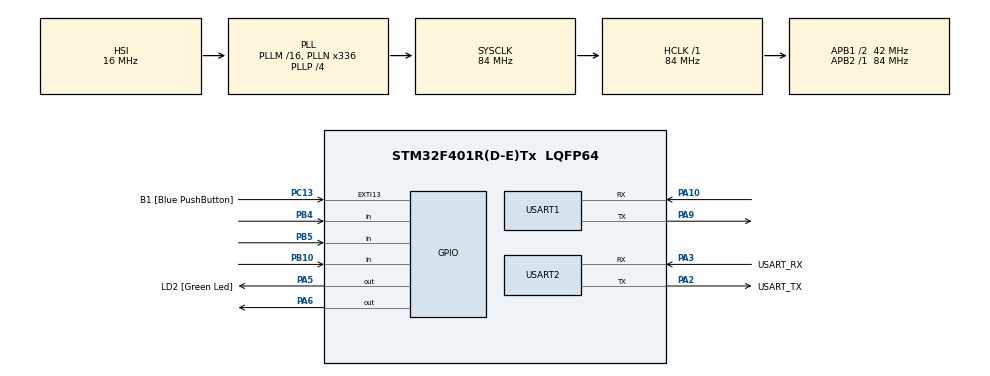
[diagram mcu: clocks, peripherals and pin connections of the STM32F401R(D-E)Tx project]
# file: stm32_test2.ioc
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Mcu.Family=STM32F4
Mcu.Name=STM32F401R(D-E)Tx
Mcu.Package=LQFP64
NVIC.PriorityGroup=NVIC_PRIORITYGROUP_4
NVIC.USART1_IRQn=true\:0\:0\:false\:false\:true\:true\:true\:true
NVIC.USART2_IRQn=true\:0\:0\:false\:false\:true\:true\:true\:true
PA10.Mode=Asynchronous
PA10.Signal=USART1_RX
PA13.GPIO_Label=TMS
PA13.Mode=Trace_Asynchronous_SW
PA13.Signal=SYS_JTMS-SWDIO
PA14.GPIO_Label=TCK
PA14.Mode=Trace_Asynchronous_SW
PA14.Signal=SYS_JTCK-SWCLK
PA2.GPIO_Label=USART_TX
PA2.GPIO_Mode=GPIO_MODE_AF_PP
PA2.GPIO_PuPd=GPIO_NOPULL
PA2.GPIO_Speed=GPIO_SPEED_FREQ_LOW
PA2.Mode=Asynchronous
PA2.Signal=USART2_TX
PA3.GPIO_Label=USART_RX
PA3.GPIO_Mode=GPIO_MODE_AF_PP
PA3.GPIO_PuPd=GPIO_NOPULL
PA3.GPIO_Speed=GPIO_SPEED_FREQ_LOW
PA3.Mode=Asynchronous
PA3.Signal=USART2_RX
PA5.GPIO_Label=LD2 [Green Led]
PA5.GPIO_Mode=GPIO_MODE_OUTPUT_PP
PA5.GPIO_PuPd=GPIO_NOPULL
PA5.GPIO_Speed=GPIO_SPEED_FREQ_LOW
PA5.Signal=GPIO_Output
PA6.PinState=GPIO_PIN_RESET
PA6.Signal=GPIO_Output
PA9.Mode=Asynchronous
PA9.Signal=USART1_TX
PB10.Signal=GPIO_Input
PB3.GPIO_Label=SWO
PB3.Mode=Trace_Asynchronous_SW
PB3.Signal=SYS_JTDO-SWO
PB4.Signal=GPIO_Input
PB5.Signal=GPIO_Input
PC13-ANTI_TAMP.GPIO_Label=B1 [Blue PushButton]
PC13-ANTI_TAMP.GPIO_ModeDefaultEXTI=GPIO_MODE_IT_FALLING
PC13-ANTI_TAMP.GPIO_PuPd=GPIO_NOPULL
PC13-ANTI_TAMP.Signal=GPXTI13
PC14-OSC32_IN.Mode=LSE-External-Oscillator
PC14-OSC32_IN.Signal=RCC_OSC32_IN
PC15-OSC32_OUT.Mode=LSE-External-Oscillator
PC15-OSC32_OUT.Signal=RCC_OSC32_OUT
PH0\ -\ OSC_IN.Mode=HSE-External-Clock-Source
PH0\ -\ OSC_IN.Signal=RCC_OSC_IN
PH1\ -\ OSC_OUT.Mode=HSE-External-Clock-Source
PH1\ -\ OSC_OUT.Signal=RCC_OSC_OUT
ProjectManager.HeapSize=0x200
ProjectManager.StackSize=0x400
ProjectManager.TargetToolchain=STM32CubeIDE
RCC.48MHZClocksFreq_Value=48000000
RCC.AHBFreq_Value=84000000
RCC.APB1CLKDivider=RCC_HCLK_DIV2
RCC.APB1Freq_Value=42000000
RCC.APB1TimFreq_Value=84000000
RCC.APB2Freq_Value=84000000
RCC.APB2TimFreq_Value=84000000
RCC.CortexFreq_Value=84000000
RCC.HCLKFreq_Value=84000000
RCC.HSE_VALUE=8000000
RCC.HSI_VALUE=16000000
RCC.PLLN=336
RCC.PLLP=RCC_PLLP_DIV4
RCC.PLLQ=7
RCC.SYSCLKFreq_VALUE=84000000
RCC.SYSCLKSource=RCC_SYSCLKSOURCE_PLLCLK
RCC.VCOOutputFreq_Value=336000000
USART1.VirtualMode=VM_ASYNC
USART2.VirtualMode=VM_ASYNC
board=NUCLEO-F401RE

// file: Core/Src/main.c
/* USER CODE BEGIN Header */
/**
  ******************************************************************************
  * @file           : main.c
  * @brief          : Main program body
  ******************************************************************************
  * @attention
  *
  * Copyright (c) 2025 STMicroelectronics.
  * All rights reserved.
  *
  * This software is licensed under terms that can be found in the LICENSE file
  * in the root directory of this software component.
  * If no LICENSE file comes with this software, it is provided AS-IS.
  *
  ******************************************************************************
  */
/* USER CODE END Header */
#include "main.h"

/* USER CODE BEGIN PD */
#define RX_BUFFER_SIZE 64
#define CONFIRM_PORT GPIOB
#define CONFIRM_PIN GPIO_PIN_4
#define LEFT_PORT GPIOB
#define LEFT_PIN GPIO_PIN_5
#define RIGHT_PORT GPIOB
#define RIGHT_PIN GPIO_PIN_10
#define LED_PORT GPIOA
#define LED_PIN GPIO_PIN_5

uint8_t rx_buffer[RX_BUFFER_SIZE];
volatile uint8_t rx_len = 0;
volatile uint8_t cmd_received = 0;
volatile uint8_t calibrate_state = 1;
/* USER CODE END PD */

UART_HandleTypeDef huart1;
UART_HandleTypeDef huart2;

void SystemClock_Config(void);
static void MX_GPIO_Init(void);
static void MX_USART1_UART_Init(void);
static void MX_USART2_UART_Init(void);

/* USER CODE BEGIN 0 */
uint16_t modbus_crc(uint8_t *data, uint16_t len) {
  uint16_t crc = 0xFFFF;
  for (uint16_t pos = 0; pos < len; pos++) {
    crc ^= (uint16_t)data[pos];
    for (int i = 8; i != 0; i--) {
      if ((crc & 0x0001) != 0) {
        crc >>= 1;
        crc ^= 0xA001;
      } else {
        crc >>= 1;
      }
    }
  }
  return crc;
}

void send_modbus_command(uint8_t *data, uint16_t len) {
  uint16_t crc = modbus_crc(data, len);
  uint8_t crc_low = crc & 0xFF;
  uint8_t crc_high = (crc >> 8) & 0xFF;

  uint8_t buffer[len + 2];
  memcpy(buffer, data, len);
  buffer[len] = crc_low;
  buffer[len + 1] = crc_high;
  HAL_UART_Transmit(&huart1, buffer, len + 2, 1000);

  HAL_Delay(1); // Minimum 3.5 character delay (≈0.3ms at 115200)
}

void test_speed_control_1(uint8_t MOTOR_ADDRESS) {
    // Step 1: Motor enable
    uint8_t step1[] = {MOTOR_ADDRESS, 0x06, 0x60, 0x40, 0x00, 0x06};
    send_modbus_command(step1, sizeof(step1));
    HAL_Delay(10);

    // Step 2
    uint8_t step2[] = {MOTOR_ADDRESS, 0x06, 0x60, 0x40, 0x00, 0x07};
    send_modbus_command(step2, sizeof(step2));
    HAL_Delay(10);

    // Step 3: Set to speed mode
    uint8_t step3[] = {MOTOR_ADDRESS, 0x06, 0x60, 0x40, 0x00, 0x0F};
    send_modbus_command(step3, sizeof(step3));
    HAL_Delay(10);

    // Step 4
    uint8_t step4[] = {MOTOR_ADDRESS, 0x06, 0x60, 0x60, 0x00, 0x03};
    send_modbus_command(step4, sizeof(step4));
    HAL_Delay(10);

    // Step 5: Set acceleration to 1rps/s
    uint8_t step5[] = {MOTOR_ADDRESS, 0x10, 0x60, 0x83, 0x00, 0x02, 0x04, 0x00, 0x00, 0x00, 0x0A};
    send_modbus_command(step5, sizeof(step5));
    HAL_Delay(10);

    // Step 6: Set deceleration to 1rps/s
    uint8_t step6[] = {MOTOR_ADDRESS, 0x10, 0x60, 0x84, 0x00, 0x02, 0x04, 0x00, 0x00, 0x00, 0x0A};
    send_modbus_command(step6, sizeof(step6));
    HAL_Delay(10);

    // Step 7: Set target speed to 200rpm (modified from 100rpm)
    uint8_t step7[] = {MOTOR_ADDRESS, 0x10, 0x60, 0xFF, 0x00, 0x02, 0x04, 0x00, 0x00, 0x00, 0xC8};
    send_modbus_command(step7, sizeof(step7));
    HAL_Delay(10);
}

void stop_motor(uint8_t MOTOR_ADDRESS) {
	uint8_t stopCommand[] = {MOTOR_ADDRESS, 0x06, 0x60, 0x40, 0x00, 0x06}; // Disable motor
	send_modbus_command(stopCommand, sizeof(stopCommand));
	HAL_Delay(10);
}

void test_absolute_position_control(uint8_t MOTOR_ADDRESS) {
    // Step 1: Motor enable (Shutdown command)
    uint8_t step1[] = {MOTOR_ADDRESS, 0x06, 0x60, 0x40, 0x00, 0x06}; // CRC: 0x161C
    send_modbus_command(step1, sizeof(step1));
    HAL_Delay(10);

    // Step 2: Switch on
    uint8_t step2[] = {MOTOR_ADDRESS, 0x06, 0x60, 0x40, 0x00, 0x07}; // CRC: 0xD7DC
    send_modbus_command(step2, sizeof(step2));
    HAL_Delay(10);

    // Step 3: Enable operation
    uint8_t step3[] = {MOTOR_ADDRESS, 0x06, 0x60, 0x40, 0x00, 0x0F}; // CRC: 0xD61A
    send_modbus_command(step3, sizeof(step3));
    HAL_Delay(10);

    // Step 4: Set to position mode
    uint8_t step4[] = {MOTOR_ADDRESS, 0x06, 0x60, 0x60, 0x00, 0x01}; // CRC: 0x5614
    send_modbus_command(step4, sizeof(step4));
    HAL_Delay(10);

    // Step 5: Set target speed to 900 rpm
    uint8_t step5[] = {MOTOR_ADDRESS, 0x10, 0x60, 0x81, 0x00, 0x02, 0x04, 0x00, 0x00, 0x07, 0xD0}; // CRC: 0x93EA
    send_modbus_command(step5, sizeof(step5));
    HAL_Delay(10);

    // Step 6: Set acceleration to 5 rps/s
    uint8_t step6[] = {MOTOR_ADDRESS, 0x10, 0x60, 0x83, 0x00, 0x02, 0x04, 0x00, 0x00, 0x00, 0x64}; // CRC: 0x93DF
    send_modbus_command(step6, sizeof(step6));
    HAL_Delay(10);

    // Step 7: Set deceleration to 5 rps/s
    uint8_t step7[] = {MOTOR_ADDRESS, 0x10, 0x60, 0x84, 0x00, 0x02, 0x04, 0x00, 0x00, 0x00, 0x64}; // CRC: 0xD239
    send_modbus_command(step7, sizeof(step7));
    HAL_Delay(10);

    // Step 8: Set running distance to 10000 pulses
    uint8_t step8[] = {MOTOR_ADDRESS, 0x10, 0x60, 0x7A, 0x00, 0x02, 0x04, 0x00, 0x00, 0x27, 0x10}; // CRC: 0xC6CA
    send_modbus_command(step8, sizeof(step8));
    HAL_Delay(10);

    // Step 9: Set absolute position mode
    uint8_t step9[] = {MOTOR_ADDRESS, 0x06, 0x60, 0x40, 0x00, 0x0F};
    send_modbus_command(step9, sizeof(step9));
    HAL_Delay(10);

    // Step 10: Motion triggering
    uint8_t step10[] = {MOTOR_ADDRESS, 0x06, 0x60, 0x40, 0x00, 0x1F};
    send_modbus_command(step10, sizeof(step10));
    HAL_Delay(10);
}

void set_pulses_per_revolution(uint8_t MOTOR_ADDRESS, uint32_t pulses_per_rev) {
    // Set electronic gear ratio: numerator = 131072, denominator = pulses_per_rev
    uint32_t numerator = 131072;  // Fixed numerator (encoder resolution)
    uint32_t denominator = pulses_per_rev;

    // Step 1: Write numerator to register 2034h
    uint8_t step1[] = {
        MOTOR_ADDRESS,
        0x10,               // Function code: Write multiple registers
        0x20, 0x34,         // Register address: 2034h
        0x00, 0x02,         // Number of registers to write (2 for 32-bit value)
        0x04,               // Byte count (4 bytes)
        (uint8_t)(numerator >> 24),
        (uint8_t)(numerator >> 16),
        (uint8_t)(numerator >> 8),
        (uint8_t)(numerator & 0xFF)
    };
    send_modbus_command(step1, sizeof(step1));
    HAL_Delay(10);

    // Step 2: Write denominator to register 2035h
    uint8_t step2[] = {
        MOTOR_ADDRESS,
        0x10,               // Function code: Write multiple registers
        0x20, 0x35,         // Register address: 2035h
        0x00, 0x02,         // Number of registers to write (2 for 32-bit value)
        0x04,               // Byte count (4 bytes)
        (uint8_t)(denominator >> 24),
        (uint8_t)(denominator >> 16),
        (uint8_t)(denominator >> 8),
        (uint8_t)(denominator & 0xFF)
    };
    send_modbus_command(step2, sizeof(step2));
    HAL_Delay(10);
}
int32_t degree_to_pulses(float degree) {
	int32_t pulses = (int32_t)(degree * 50 * 3.5 * 1000/360);
	return pulses;
}

void test_absolute_position_control_degree(uint8_t MOTOR_ADDRESS, float degree) {
    // Calculate the number of pulses based on the degree input
    int32_t pulses = degree_to_pulses(degree);

    // Step 1: Motor enable (Shutdown command)
    uint8_t step1[] = {MOTOR_ADDRESS, 0x06, 0x60, 0x40, 0x00, 0x06}; // CRC: 0x161C
    send_modbus_command(step1, sizeof(step1));
    HAL_Delay(5);

    // Step 2: Switch on
    uint8_t step2[] = {MOTOR_ADDRESS, 0x06, 0x60, 0x40, 0x00, 0x07}; // CRC: 0xD7DC
    send_modbus_command(step2, sizeof(step2));
    HAL_Delay(5);

    // Step 3: Enable operation
    uint8_t step3[] = {MOTOR_ADDRESS, 0x06, 0x60, 0x40, 0x00, 0x0F}; // CRC: 0xD61A
    send_modbus_command(step3, sizeof(step3));
    HAL_Delay(5);

    // Step 4: Set to position mode
    uint8_t step4[] = {MOTOR_ADDRESS, 0x06, 0x60, 0x60, 0x00, 0x01}; // CRC: 0x5614
    send_modbus_command(step4, sizeof(step4));
    HAL_Delay(5);

    // Step 5: Set target speed to 2000 rpm
//    uint8_t step5[] = {MOTOR_ADDRESS, 0x10, 0x60, 0x81, 0x00, 0x02, 0x04, 0x00, 0x00, 0x07, 0xD0};
//    send_modbus_command(step5, sizeof(step5));
//    HAL_Delay(5);
//
    // Step 5: Set target speed to 600 rpm
    uint8_t step5[] = {MOTOR_ADDRESS, 0x10, 0x60, 0x81, 0x00, 0x02, 0x04, 0x00, 0x00, 0x03, 0xE8};
    send_modbus_command(step5, sizeof(step5));
    HAL_Delay(5);

//    // Step 6: Set acceleration to 150 rps/s
//    uint8_t step6[] = {MOTOR_ADDRESS, 0x10, 0x60, 0x83, 0x00, 0x02, 0x04, 0x00, 0x00, 0x00, 0x96};
//    send_modbus_command(step6, sizeof(step6));
//    HAL_Delay(5);

    // Step 6: Set acceleration to 75 rps/s
    uint8_t step6[] = {MOTOR_ADDRESS, 0x10, 0x60, 0x83, 0x00, 0x02, 0x04, 0x00, 0x00, 0x00, 0x4B};
    send_modbus_command(step6, sizeof(step6));
    HAL_Delay(5);

    // Step 7: Set deceleration to 150 rps/s
    uint8_t step7[] = {MOTOR_ADDRESS, 0x10, 0x60, 0x84, 0x00, 0x02, 0x04, 0x00, 0x00, 0x00, 0x96}; // CRC: 0xD239
    send_modbus_command(step7, sizeof(step7));
    HAL_Delay(5);

    // Step 8: Set running distance to the calculated number of pulses
    uint8_t step8[] = {MOTOR_ADDRESS, 0x10, 0x60, 0x7A, 0x00, 0x02, 0x04,
                       (uint8_t)(pulses >> 24), (uint8_t)(pulses >> 16),
                       (uint8_t)(pulses >> 8), (uint8_t)(pulses & 0xFF)}; // CRC needs to be calculated
    send_modbus_command(step8, sizeof(step8));
    HAL_Delay(5);

    // Step 9: Set absolute position mode
    uint8_t step9[] = {MOTOR_ADDRESS, 0x06, 0x60, 0x40, 0x00, 0x0F};
    send_modbus_command(step9, sizeof(step9));
    HAL_Delay(5);

    // Step 10: Motion triggering
    uint8_t step10[] = {MOTOR_ADDRESS, 0x06, 0x60, 0x40, 0x00, 0x1F};
    send_modbus_command(step10, sizeof(step10));
    HAL_Delay(5);
}
void test_relative_position_control_degree(uint8_t MOTOR_ADDRESS, float degree) {
    // Calculate the number of pulses based on the degree input
	int32_t pulses = degree_to_pulses(degree);

    // Step 1: Motor enable (Shutdown command)
    uint8_t step1[] = {MOTOR_ADDRESS, 0x06, 0x60, 0x40, 0x00, 0x06}; // CRC: 0x161C
    send_modbus_command(step1, sizeof(step1));
    HAL_Delay(10);

    // Step 2: Switch on
    uint8_t step2[] = {MOTOR_ADDRESS, 0x06, 0x60, 0x40, 0x00, 0x07}; // CRC: 0xD7DC
    send_modbus_command(step2, sizeof(step2));
    HAL_Delay(10);

    // Step 3: Enable operation
    uint8_t step3[] = {MOTOR_ADDRESS, 0x06, 0x60, 0x40, 0x00, 0x0F}; // CRC: 0xD61A
    send_modbus_command(step3, sizeof(step3));
    HAL_Delay(10);

    // Step 4: Set to position mode
    uint8_t step4[] = {MOTOR_ADDRESS, 0x06, 0x60, 0x60, 0x00, 0x01}; // CRC: 0x5614
    send_modbus_command(step4, sizeof(step4));
    HAL_Delay(10);

    // Step 5: Set target speed to 2000 rpm
    uint8_t step5[] = {MOTOR_ADDRESS, 0x10, 0x60, 0x81, 0x00, 0x02, 0x04, 0x00, 0x00, 0x07, 0xD0};
    send_modbus_command(step5, sizeof(step5));
    HAL_Delay(10);

    // Step 6: Set acceleration to 150 rps/s
    uint8_t step6[] = {MOTOR_ADDRESS, 0x10, 0x60, 0x83, 0x00, 0x02, 0x04, 0x00, 0x00, 0x00, 0x96};
    send_modbus_command(step6, sizeof(step6));
    HAL_Delay(10);

    // Step 7: Set deceleration to 150 rps/s
    uint8_t step7[] = {MOTOR_ADDRESS, 0x10, 0x60, 0x84, 0x00, 0x02, 0x04, 0x00, 0x00, 0x00, 0x96};
    send_modbus_command(step7, sizeof(step7));
    HAL_Delay(10);

    // Step 8: Set running distance to the calculated number of pulses
    uint8_t step8[] = {MOTOR_ADDRESS, 0x10, 0x60, 0x7A, 0x00, 0x02, 0x04,
                      (uint8_t)((pulses >> 24) & 0xFF),
                      (uint8_t)((pulses >> 16) & 0xFF),
                      (uint8_t)((pulses >> 8) & 0xFF),
                      (uint8_t)(pulses & 0xFF)};
    send_modbus_command(step8, sizeof(step8));
    HAL_Delay(10);

    // Step 9: Enable operation (already enabled, but required in sequence)
    uint8_t step9[] = {MOTOR_ADDRESS, 0x06, 0x60, 0x40, 0x00, 0x0F}; // CRC: 0xD61A
    send_modbus_command(step9, sizeof(step9));
    HAL_Delay(10);

    // Step 10: Set to relative position mode (bit 6 = 1 for relative mode)
    uint8_t step10[] = {MOTOR_ADDRESS, 0x06, 0x60, 0x40, 0x00, 0x4F}; // CRC: 0xD7EA
    send_modbus_command(step10, sizeof(step10));
    HAL_Delay(10);

    // Step 11: Motion triggering
    uint8_t step11[] = {MOTOR_ADDRESS, 0x06, 0x60, 0x40, 0x00, 0x5F}; // CRC: 0xD626
    send_modbus_command(step11, sizeof(step11));
    HAL_Delay(10);
}

void parse_command(char* cmd) {
  char *trimmed_cmd = cmd;
  char *p = trimmed_cmd;
  int motor_num, angle, chars_read;

  while (*p) {
      if (sscanf(p, " M%d %d%n", &motor_num, &angle, &chars_read) == 2) {
          if (motor_num >= 1 && motor_num <= 3) {
              test_absolute_position_control_degree(motor_num, (float)angle);
          }
          p += chars_read;
      } else {
          p++;
      }
  }

}
void set_current_position_as_zero(uint8_t MOTOR_ADDRESS) {
    // Step 1: Make sure the motor is in a stopped state first
    // Per the manual, register 2101h requires "Stop setting"

    // First ensure the motor is enabled but not moving
    // Shutdown command
    uint8_t cmd1[] = {MOTOR_ADDRESS, 0x06, 0x60, 0x40, 0x00, 0x06};
    send_modbus_command(cmd1, sizeof(cmd1));
    HAL_Delay(20);

    // Switch on
    uint8_t cmd2[] = {MOTOR_ADDRESS, 0x06, 0x60, 0x40, 0x00, 0x07};
    send_modbus_command(cmd2, sizeof(cmd2));
    HAL_Delay(20);

    // Enable operation
    uint8_t cmd3[] = {MOTOR_ADDRESS, 0x06, 0x60, 0x40, 0x00, 0x0F};
    send_modbus_command(cmd3, sizeof(cmd3));
    HAL_Delay(20);

    // Set mode to position mode (to ensure proper operation)
    uint8_t cmd4[] = {MOTOR_ADDRESS, 0x06, 0x60, 0x60, 0x00, 0x01};
    send_modbus_command(cmd4, sizeof(cmd4));
    HAL_Delay(20);

    // Now clear the position to zero
    // Write value 1 to register 2101h to trigger the Clear Zero function
    uint8_t cmd5[] = {MOTOR_ADDRESS, 0x06, 0x21, 0x01, 0x00, 0x01};
    send_modbus_command(cmd5, sizeof(cmd5));
    HAL_Delay(50); // Longer delay to ensure the operation completes

    // Optional: Save parameters to EEPROM if needed
    // According to section 7, register 200Ah can be used to save parameters
    // uint8_t cmd6[] = {MOTOR_ADDRESS, 0x06, 0x20, 0x0A, 0x00, 0x02};
    // send_modbus_command(cmd6, sizeof(cmd6));
    // HAL_Delay(100); // Saving to EEPROM can take longer
}
typedef enum {
    BUTTON_RELEASED = 0,
    BUTTON_PRESSED = 1,
    BUTTON_DEBOUNCING = 2
} ButtonState;

typedef struct {
    GPIO_TypeDef* GPIOx;       /* GPIO Port */
    uint16_t GPIO_Pin;         /* GPIO Pin */
    ButtonState state;         /* Current button state */
    uint32_t debounce_time;    /* Time for debouncing in milliseconds */
    uint32_t last_tick;        /* Last time the button was checked */
    uint8_t pressed;           /* Flag to indicate a valid press was detected */
} Button_TypeDef;

void Button_Init(Button_TypeDef* button, GPIO_TypeDef* GPIOx, uint16_t GPIO_Pin, uint32_t debounce_time) {
    button->GPIOx = GPIOx;
    button->GPIO_Pin = GPIO_Pin;
    button->state = BUTTON_RELEASED;
    button->debounce_time = debounce_time;
    button->last_tick = 0;
    button->pressed = 0;
}

void Button_Update(Button_TypeDef* button) {
    uint32_t current_tick = HAL_GetTick();
    GPIO_PinState pin_state = HAL_GPIO_ReadPin(button->GPIOx, button->GPIO_Pin);

    switch (button->state) {
        case BUTTON_RELEASED:
            if (pin_state == GPIO_PIN_SET) {
                button->state = BUTTON_DEBOUNCING;
                button->last_tick = current_tick;
            }
            break;

        case BUTTON_DEBOUNCING:
            if (current_tick - button->last_tick >= button->debounce_time) {
                /* Read the pin again after debounce period */
                if (HAL_GPIO_ReadPin(button->GPIOx, button->GPIO_Pin) == GPIO_PIN_SET) {
                    button->state = BUTTON_PRESSED;
                    button->pressed = 1; /* Set flag for a new press event */
                } else {
                    button->state = BUTTON_RELEASED;
                }
            }
            break;

        case BUTTON_PRESSED:
            if (pin_state == GPIO_PIN_RESET) {
                button->state = BUTTON_RELEASED;
            }
            break;
    }
}
uint8_t Button_IsPressed(Button_TypeDef* button) {
    if (button->pressed) {
        button->pressed = 0;
        return 1;
    }
    return 0;
}

void run_calibration(
		uint8_t MOTOR_ADDRESS,
		Button_TypeDef* confirm_button,
		Button_TypeDef* left_button,
		Button_TypeDef* right_button
) {
	if (Button_IsPressed(confirm_button)) {
		HAL_GPIO_WritePin(LED_PORT, LED_PIN, GPIO_PIN_SET);
		set_current_position_as_zero(MOTOR_ADDRESS);
		calibrate_state += 1;
		if (calibrate_state == 4) {
			calibrate_state = 0;
		}
	}
	else if (Button_IsPressed(left_button)) {
		HAL_GPIO_WritePin(LED_PORT, LED_PIN, GPIO_PIN_SET);
		test_relative_position_control_degree(MOTOR_ADDRESS, 5);
	}
	else if (Button_IsPressed(right_button)) {
		HAL_GPIO_WritePin(LED_PORT, LED_PIN, GPIO_PIN_SET);
		test_relative_position_control_degree(MOTOR_ADDRESS, -5);
	}
	else {
		HAL_GPIO_WritePin(LED_PORT, LED_PIN, GPIO_PIN_RESET);
//		stop_motor(MOTOR_ADDRESS);
	}
}
/* USER CODE END 0 */

int main(void)
{

  /* MCU Configuration--------------------------------------------------------*/

  /* Reset of all peripherals, Initializes the Flash interface and the Systick. */
  HAL_Init();

  /* Configure the system clock */
  SystemClock_Config();

  /* Initialize all configured peripherals */
  MX_GPIO_Init();
  MX_USART1_UART_Init();
  MX_USART2_UART_Init();
  /* USER CODE BEGIN 2 */

//	set_pulses_per_revolution(0x01, 1000);
//	HAL_Delay(1000);
  HAL_UART_Receive_IT(&huart2, rx_buffer, 1);
  HAL_GPIO_WritePin(GPIOA, GPIO_PIN_5, GPIO_PIN_RESET);  // Turn off LED

  Button_TypeDef confirmButton;
  Button_Init(&confirmButton, CONFIRM_PORT, CONFIRM_PIN, 200);
  Button_TypeDef leftButton;
  Button_Init(&leftButton, LEFT_PORT, LEFT_PIN, 200);
  Button_TypeDef rightButton;
  Button_Init(&rightButton, RIGHT_PORT, RIGHT_PIN, 200);
  /* USER CODE END 2 */

  /* Infinite loop */
  /* USER CODE BEGIN WHILE */
  while (1)
  {
	  Button_Update(&confirmButton);
	  Button_Update(&leftButton);
	  Button_Update(&rightButton);

	  if (calibrate_state == 0) {
		  if (cmd_received) {
			parse_command((char*)rx_buffer);
			rx_len = 0;
			cmd_received = 0;
		  }
	  }
	  else if (calibrate_state == 1) {
		  run_calibration(0x01, &confirmButton, &leftButton, &rightButton);
	  }
	  else if (calibrate_state == 2) {
		  run_calibration(0x02, &confirmButton, &leftButton, &rightButton);
	  }
	  else if (calibrate_state == 3) {
		  run_calibration(0x03, &confirmButton, &leftButton, &rightButton);
	  }
//	test_speed_control_1(0x01);
//	HAL_Delay(10000);
//	stop_motor(0x01);
//	HAL_Delay(1000);
//	test_absolute_position_control(0x01);
//	HAL_Delay(10000);
//	stop_motor(0x01);
//	HAL_Delay(1000);

//	test_absolute_position_control_degree(0x01, 0.0f);
//	HAL_Delay(5000);
//	test_absolute_position_control_degree(0x01, 120.0f);
//	HAL_Delay(5000);
//	test_absolute_position_control_degree(0x01, 240.0f);
//	HAL_Delay(5000);
//	test_absolute_position_control_degree(0x01, 360.0f);
//	HAL_Delay(10000);

    /* USER CODE END WHILE */

  }
}

void SystemClock_Config(void)
{
  RCC_OscInitTypeDef RCC_OscInitStruct = {0};
  RCC_ClkInitTypeDef RCC_ClkInitStruct = {0};

  /** Configure the main internal regulator output voltage
  */
  __HAL_RCC_PWR_CLK_ENABLE();
  __HAL_PWR_VOLTAGESCALING_CONFIG(PWR_REGULATOR_VOLTAGE_SCALE2);

  /** Initializes the RCC Oscillators according to the specified parameters
  * in the RCC_OscInitTypeDef structure.
  */
  RCC_OscInitStruct.OscillatorType = RCC_OSCILLATORTYPE_HSI;
  RCC_OscInitStruct.HSIState = RCC_HSI_ON;
  RCC_OscInitStruct.HSICalibrationValue = RCC_HSICALIBRATION_DEFAULT;
  RCC_OscInitStruct.PLL.PLLState = RCC_PLL_ON;
  RCC_OscInitStruct.PLL.PLLSource = RCC_PLLSOURCE_HSI;
  RCC_OscInitStruct.PLL.PLLM = 16;
  RCC_OscInitStruct.PLL.PLLN = 336;
  RCC_OscInitStruct.PLL.PLLP = RCC_PLLP_DIV4;
  RCC_OscInitStruct.PLL.PLLQ = 7;
  if (HAL_RCC_OscConfig(&RCC_OscInitStruct) != HAL_OK)
  {
    Error_Handler();
  }

  /** Initializes the CPU, AHB and APB buses clocks
  */
  RCC_ClkInitStruct.ClockType = RCC_CLOCKTYPE_HCLK|RCC_CLOCKTYPE_SYSCLK
                              |RCC_CLOCKTYPE_PCLK1|RCC_CLOCKTYPE_PCLK2;
  RCC_ClkInitStruct.SYSCLKSource = RCC_SYSCLKSOURCE_PLLCLK;
  RCC_ClkInitStruct.AHBCLKDivider = RCC_SYSCLK_DIV1;
  RCC_ClkInitStruct.APB1CLKDivider = RCC_HCLK_DIV2;
  RCC_ClkInitStruct.APB2CLKDivider = RCC_HCLK_DIV1;

  if (HAL_RCC_ClockConfig(&RCC_ClkInitStruct, FLASH_LATENCY_2) != HAL_OK)
  {
    Error_Handler();
  }
}

static void MX_USART1_UART_Init(void)
{

  huart1.Instance = USART1;
  huart1.Init.BaudRate = 115200;
  huart1.Init.WordLength = UART_WORDLENGTH_8B;
  huart1.Init.StopBits = UART_STOPBITS_1;
  huart1.Init.Parity = UART_PARITY_NONE;
  huart1.Init.Mode = UART_MODE_TX_RX;
  huart1.Init.HwFlowCtl = UART_HWCONTROL_NONE;
  huart1.Init.OverSampling = UART_OVERSAMPLING_16;
  if (HAL_UART_Init(&huart1) != HAL_OK)
  {
    Error_Handler();
  }

}

static void MX_USART2_UART_Init(void)
{

  huart2.Instance = USART2;
  huart2.Init.BaudRate = 115200;
  huart2.Init.WordLength = UART_WORDLENGTH_8B;
  huart2.Init.StopBits = UART_STOPBITS_1;
  huart2.Init.Parity = UART_PARITY_NONE;
  huart2.Init.Mode = UART_MODE_TX_RX;
  huart2.Init.HwFlowCtl = UART_HWCONTROL_NONE;
  huart2.Init.OverSampling = UART_OVERSAMPLING_16;
  if (HAL_UART_Init(&huart2) != HAL_OK)
  {
    Error_Handler();
  }

}

static void MX_GPIO_Init(void)
{
  GPIO_InitTypeDef GPIO_InitStruct = {0};

  /* GPIO Ports Clock Enable */
  __HAL_RCC_GPIOC_CLK_ENABLE();
  __HAL_RCC_GPIOH_CLK_ENABLE();
  __HAL_RCC_GPIOA_CLK_ENABLE();
  __HAL_RCC_GPIOB_CLK_ENABLE();

  /*Configure GPIO pin Output Level */
  HAL_GPIO_WritePin(GPIOA, LD2_Pin|GPIO_PIN_6, GPIO_PIN_RESET);

  /*Configure GPIO pin : B1_Pin */
  GPIO_InitStruct.Pin = B1_Pin;
  GPIO_InitStruct.Mode = GPIO_MODE_IT_FALLING;
  GPIO_InitStruct.Pull = GPIO_NOPULL;
  HAL_GPIO_Init(B1_GPIO_Port, &GPIO_InitStruct);

  /*Configure GPIO pins : LD2_Pin PA6 */
  GPIO_InitStruct.Pin = LD2_Pin|GPIO_PIN_6;
  GPIO_InitStruct.Mode = GPIO_MODE_OUTPUT_PP;
  GPIO_InitStruct.Pull = GPIO_NOPULL;
  GPIO_InitStruct.Speed = GPIO_SPEED_FREQ_LOW;
  HAL_GPIO_Init(GPIOA, &GPIO_InitStruct);

  /*Configure GPIO pins : PB10 PB4 PB5 */
  GPIO_InitStruct.Pin = GPIO_PIN_10|GPIO_PIN_4|GPIO_PIN_5;
  GPIO_InitStruct.Mode = GPIO_MODE_INPUT;
  GPIO_InitStruct.Pull = GPIO_NOPULL;
  HAL_GPIO_Init(GPIOB, &GPIO_InitStruct);

}

/* USER CODE BEGIN 4 */
void HAL_UART_RxCpltCallback(UART_HandleTypeDef *huart) {
  if (huart == &huart2) {
    // Check for end-of-command (e.g., newline)
    if (rx_buffer[rx_len] == '\n' || rx_len >= RX_BUFFER_SIZE - 1) {
      cmd_received = 1; // Flag to process command
      rx_buffer[rx_len] = '\0'; // Null-terminate
    } else {
      rx_len++;
    }
    // Restart interrupt-based reception
    HAL_UART_Receive_IT(&huart2, &rx_buffer[rx_len], 1);
  }
}
/* USER CODE END 4 */

void Error_Handler(void)
{
  __disable_irq();
  while (1)
  {
  }
}
